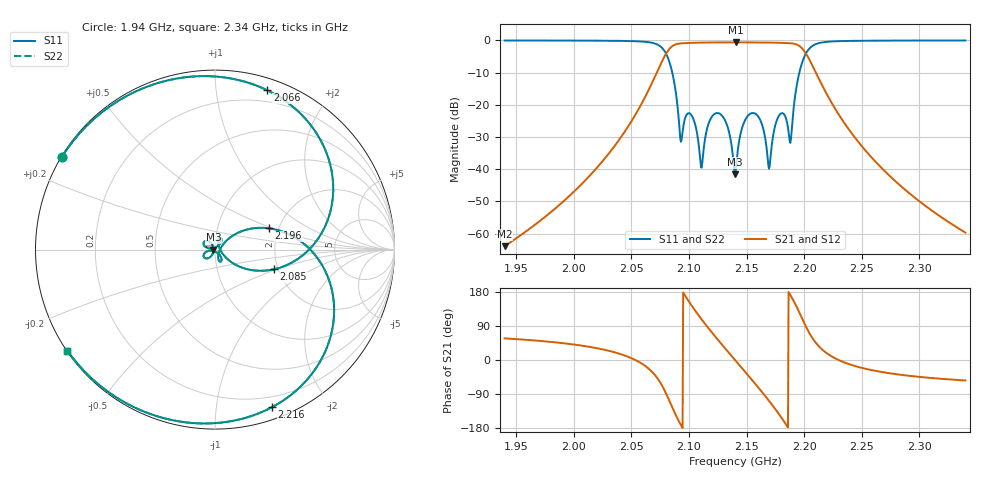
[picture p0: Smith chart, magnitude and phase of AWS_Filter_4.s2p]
!Port 1 is shunt  connected
!Port 2 is shunt  connected
!prototype= pole placed tchebycheff
!n=  5,  np= 0,  rl=  22.000dB
!transform= band pass
!f0= 2140.000MHz,  bw=  100.000MHz, q0= 950.000
!fstart= 1940.000MHz, fstep=  0.500MHz, fstop= 2340.000MHz
# MHZ S MA R 50
!Freq  Mag(S11)  Arg(S11)  Mag(S21)  Arg(S21)  Mag(S12)  Arg(S12)  Mag(S22)  Arg(S22)
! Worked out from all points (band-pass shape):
!   801 points, 1.94 GHz to 2.34 GHz, reference 50 ohm
!   highest |S21| = -0.61 dB at 2.14 GHz (marker M1); lowest = -63.9 dB at 1.94 GHz (marker M2)
!   |S21| within 3 dB of the highest: 2.081 GHz to 2.201 GHz (119.6 MHz wide, 5.59 % of centre)
!   lowest |S11| = -41.5 dB at 2.14 GHz (marker M3), VSWR 1.02, Z = 49.2 - j0.000201 ohm
!   |S11| at or under -10 dB: 2.086 GHz to 2.196 GHz (110.3 MHz wide, 5.15 % of centre)
!   |S22| runs from -41.5 to 0.0 dB; largest |S21 - S12| = 0
!   S11 on the Smith chart (normalised r, x): 1.94 GHz: 0.00, +0.28; 2.066 GHz: 0.10, +1.38; 2.085 GHz: 1.90, -0.48; 2.196 GHz: 1.78, +0.47; 2.216 GHz: 0.10, -1.42; 2.34 GHz: 0.00, -0.31
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1940  0.9966 148.8  0.0006381 57.1  0.0006381 57.1  0.9966 148.8
2007  0.9915 130.6  0.005905 37.9  0.005905 37.9  0.9915 130.6
2065.5  0.9342 71.8  0.1767 -24.1  0.1767 -24.1  0.9342 71.8
2073.5  0.8449 45.5  0.3586 -51.8  0.3586 -51.8  0.8449 45.5
2085  0.3472 -18.4  0.7981 -121.6  0.7981 -121.6  0.3472 -18.4
2093  0.02669 16.4  0.8982 -171.4  0.8982 -171.4  0.02669 16.4
2101.5  0.07147 60.1  0.9135 147.3  0.9135 147.3  0.07147 60.1
2112.5  0.01837 158.7  0.9248 101.3  0.9248 101.3  0.01837 158.7
2118  0.05633 163.6  0.9264 79.9  0.9264 79.9  0.05633 163.6
2126  0.07367 141.3  0.9281 50.3  0.9281 50.3  0.07367 141.3
2140  0.008384 -180.0  0.9323 -0.0  0.9323 -0.0  0.008384 -180.0
2140.5  0.009168 -157.7  0.9323 -1.8  0.9323 -1.8  0.009168 -157.7
2154.5  0.07412 -142.4  0.9289 -51.7  0.9289 -51.7  0.07412 -142.4
2162.5  0.05492 -164.4  0.9278 -81.0  0.9278 -81.0  0.05492 -164.4
2168  0.01726 -157.5  0.9266 -101.8  0.9266 -101.8  0.01726 -157.5
2179.5  0.07241 -60.8  0.916 -148.6  0.916 -148.6  0.07241 -60.8
2188  0.02557 -18.7  0.9026 171.7  0.9026 171.7  0.02557 -18.7
2196  0.3241 21.4  0.8148 124.4  0.8148 124.4  0.3241 21.4
2207  0.815 -38.6  0.4135 58.6  0.4135 58.6  0.815 -38.6
2216.5  0.9336 -70.1  0.1872 25.5  0.1872 25.5  0.9336 -70.1
2273.5  0.9913 -127.2  0.008101 -34.7  0.008101 -34.7  0.9913 -127.2
2340  0.9966 -145.6  0.001036 -54.0  0.001036 -54.0  0.9966 -145.6
